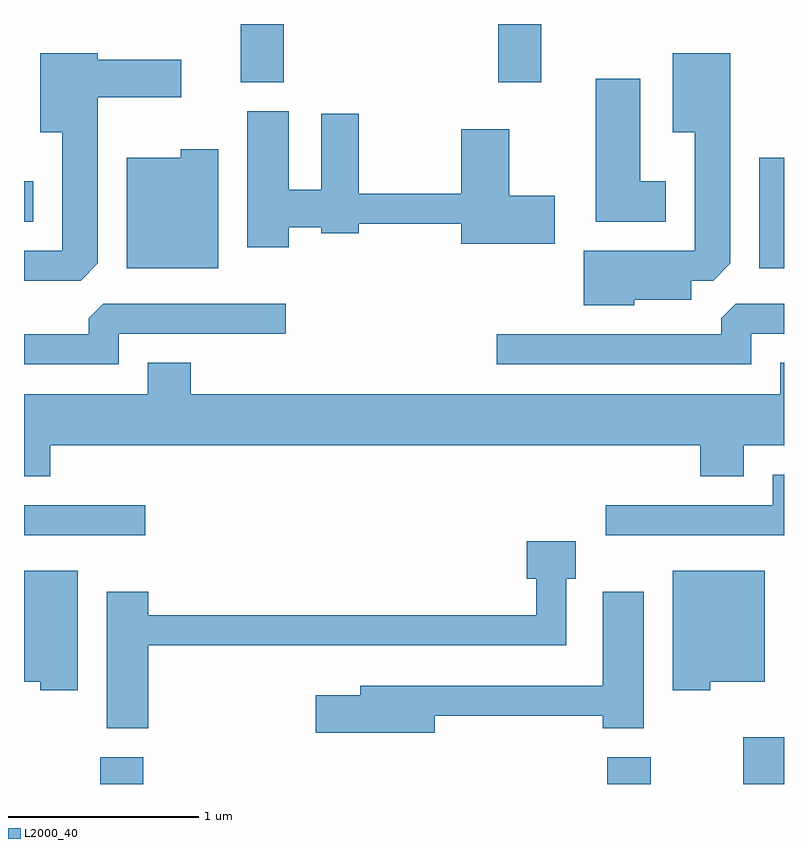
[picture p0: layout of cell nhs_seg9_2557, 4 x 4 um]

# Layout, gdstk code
import gdstk
lib = gdstk.Library(unit=1e-6, precision=1e-09)
def R(c, l, rs):  # rectangles x0, y0, x1, y1
    for r in rs: c.add(gdstk.rectangle(r[:2], r[2:], *l))
def P(c, l, *ps):  # polygons
    for p in ps: c.add(gdstk.Polygon(p, *l))
L2000_40 = (2000, 40)

nhs_seg9_2557 = lib.new_cell('nhs_seg9_2557')
R(nhs_seg9_2557, L2000_40, [(260.011,2034.432,260.239,2034.574), (262.681,2034.432,262.909,2034.574), (263.396,2034.432,263.611,2034.679), (259.611,2035.741,260.248,2035.899), (263.481,2037.146,263.611,2037.729), (259.611,2037.391,259.659,2037.604), (260.751,2038.126,260.979,2038.432), (262.106,2038.126,262.334,2038.432)])
P(nhs_seg9_2557, L2000_40, [(259.999,2037.172),(259.999,2038.046),(260.439,2038.046),(260.439,2038.244),(259.999,2038.244),(259.999,2038.279),(259.696,2038.279),(259.696,2037.861),(259.811,2037.861),(259.811,2037.239),(259.611,2037.239),(259.611,2037.081),(259.909,2037.081)],
  [(262.824,2036.981),(263.124,2036.981),(263.124,2037.081),(263.239,2037.081),(263.329,2037.172),(263.329,2038.279),(263.026,2038.279),(263.026,2037.861),(263.141,2037.861),(263.141,2037.239),(262.556,2037.239),(262.556,2036.951),(262.824,2036.951)],
  [(262.989,2037.604),(262.854,2037.604),(262.854,2038.144),(262.621,2038.144),(262.621,2037.391),(262.989,2037.391)],
  [(261.004,2037.361),(261.176,2037.361),(261.176,2037.331),(261.374,2037.331),(261.374,2037.381),(261.911,2037.381),(261.911,2037.276),(262.404,2037.276),(262.404,2037.529),(262.164,2037.529),(262.164,2037.879),(261.911,2037.879),(261.911,2037.539),(261.374,2037.539),(261.374,2037.959),(261.176,2037.959),(261.176,2037.559),(261.004,2037.559),(261.004,2037.974),(260.786,2037.974),(260.786,2037.256),(261.004,2037.256)],
  [(260.634,2037.774),(260.436,2037.774),(260.436,2037.729),(260.151,2037.729),(260.151,2037.146),(260.634,2037.146)],
  [(260.109,2036.801),(260.988,2036.801),(260.988,2036.959),(260.027,2036.959),(259.951,2036.884),(259.951,2036.799),(259.611,2036.799),(259.611,2036.641),(260.109,2036.641)],
  [(263.439,2036.801),(263.611,2036.801),(263.611,2036.959),(263.357,2036.959),(263.281,2036.884),(263.281,2036.799),(262.098,2036.799),(262.098,2036.641),(263.439,2036.641)],
  [(259.749,2036.216),(263.171,2036.216),(263.171,2036.051),(263.399,2036.051),(263.399,2036.216),(263.611,2036.216),(263.611,2036.649),(263.591,2036.649),(263.591,2036.484),(260.489,2036.484),(260.489,2036.649),(260.261,2036.649),(260.261,2036.484),(259.611,2036.484),(259.611,2036.051),(259.749,2036.051)],
  [(263.611,2036.059),(263.551,2036.059),(263.551,2035.899),(262.673,2035.899),(262.673,2035.741),(263.611,2035.741)],
  [(260.264,2035.161),(262.464,2035.161),(262.464,2035.511),(262.514,2035.511),(262.514,2035.709),(262.256,2035.709),(262.256,2035.511),(262.306,2035.511),(262.306,2035.319),(260.264,2035.319),(260.264,2035.444),(260.046,2035.444),(260.046,2034.726),(260.264,2034.726)],
  [(263.224,2034.971),(263.509,2034.971),(263.509,2035.554),(263.026,2035.554),(263.026,2034.926),(263.224,2034.926)],
  [(259.894,2035.554),(259.611,2035.554),(259.611,2034.971),(259.696,2034.971),(259.696,2034.926),(259.894,2034.926)],
  [(261.774,2034.791),(262.656,2034.791),(262.656,2034.726),(262.874,2034.726),(262.874,2035.444),(262.656,2035.444),(262.656,2034.949),(261.381,2034.949),(261.381,2034.899),(261.146,2034.899),(261.146,2034.701),(261.774,2034.701)])

lib.write_gds('nhs_seg9_2557.gds')
